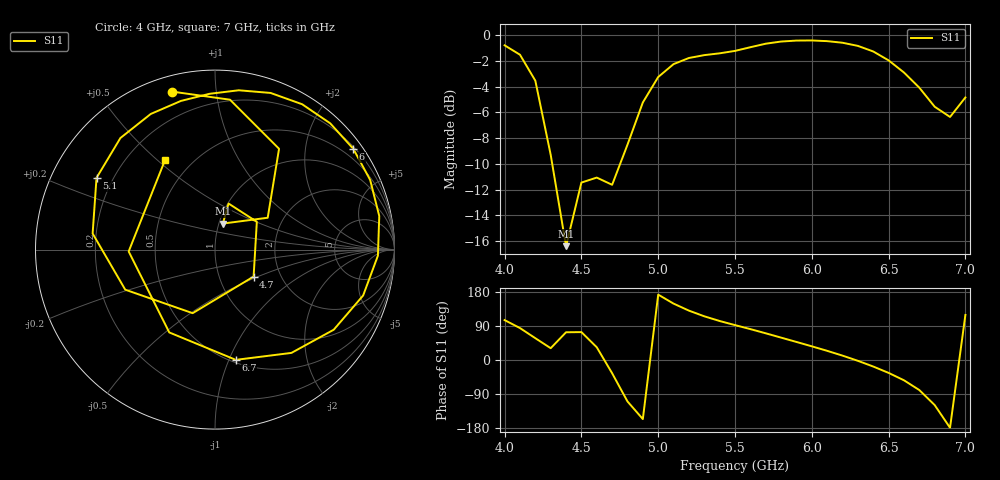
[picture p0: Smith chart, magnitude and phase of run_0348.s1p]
! Touchstone file exported from HFSS 2024.2.0
!  File:  C:/Users/wsak9/Desktop/Sim Fast/Widenad Patch/WP_AI_V1_sweep.aedt
!  Generated:  05:46:40 AM Oct 14, 2026
!  Design:  A1_model
!  Project:  WP_AI_V1_sweep
!  Setup:  Setup1
!  Solution:  Sweep
! Variables:
!  Air_gap = 2.4mm
!  Curve_Amp1 = 2.86
!  Curve_len1 = 1
!  Curve_pos = 12.12mm
!  Extra = 5.3mm
!  H_sub = 0.79mm
!  L_Patch = 20.24mm
!  L_Patch1 = 18.25mm
!  Sx = 3.98mm
!  Sy = 2.09mm
!  WS = 0.31mm
!  W_Patch = 18.37mm
!  W_Patch1 = 12.95mm
!Data is not renormalized
# GHz S MA
! Terminal data exported
! Port[1] = 1
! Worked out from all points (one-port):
!   31 points, 4 GHz to 7 GHz, reference per port
!   lowest |S11| = -16.4 dB at 4.4 GHz (marker M1), VSWR 1.36
!   |S11| at or under -10 dB: 4.31 GHz to 4.752 GHz (442.2 MHz wide, 9.76 % of centre)
!   S11 on the Smith chart (normalised r, x): 4 GHz: 0.07, +0.76; 4.7 GHz: 1.46, -0.47; 5.1 GHz: 0.14, +0.27; 6 GHz: 0.25, +3.05; 6.7 GHz: 0.53, -1.06; 7 GHz: 0.36, +0.53
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4  0.9129 105.3
4.1  0.8393 84.3
4.2  0.6655 57.6
4.3  0.3431 31.1
4.4  0.1515 73.2
4.5  0.2676 73.6
4.6  0.2798 33.6
4.7  0.2623 -34.9
4.8  0.3754 -109.4
4.9  0.5477 -155.9
5  0.6876 172.5
5.1  0.7717 148.8
5.2  0.815 130.3
5.3  0.8362 115.3
5.5  0.8685 92.1
5.7  0.9261 70.5
5.8  0.9442 59.1
5.9  0.9524 47.6
6  0.9534 36.1
6.2  0.9341 11.5
6.3  0.9082 -2.1
6.4  0.8641 -17.2
6.5  0.798 -34.0
6.6  0.7159 -53.5
6.7  0.6252 -79.3
6.8  0.5272 -118.9
6.9  0.4811 -178.8
7  0.5727 119.0
